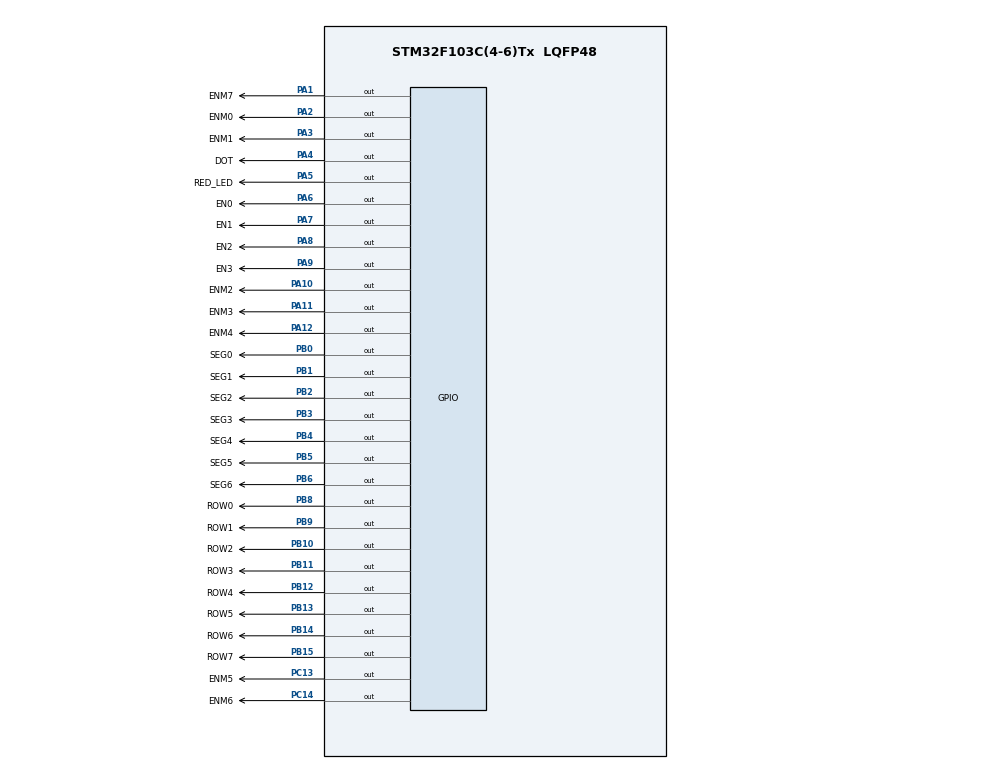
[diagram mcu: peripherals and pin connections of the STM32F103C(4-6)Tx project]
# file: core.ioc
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Mcu.Family=STM32F1
Mcu.Name=STM32F103C(4-6)Tx
Mcu.Package=LQFP48
NVIC.PriorityGroup=NVIC_PRIORITYGROUP_4
NVIC.TIM2_IRQn=true\:1\:0\:true\:false\:true\:true\:true
PA1.GPIO_Label=ENM7
PA1.Signal=GPIO_Output
PA10.GPIO_Label=ENM2
PA10.Signal=GPIO_Output
PA11.GPIO_Label=ENM3
PA11.Signal=GPIO_Output
PA12.GPIO_Label=ENM4
PA12.Signal=GPIO_Output
PA13.Mode=Serial_Wire
PA13.Signal=SYS_JTMS-SWDIO
PA14.Mode=Serial_Wire
PA14.Signal=SYS_JTCK-SWCLK
PA2.GPIO_Label=ENM0
PA2.Signal=GPIO_Output
PA3.GPIO_Label=ENM1
PA3.Signal=GPIO_Output
PA4.GPIO_Label=DOT
PA4.Signal=GPIO_Output
PA5.GPIO_Label=RED_LED
PA5.Signal=GPIO_Output
PA6.GPIO_Label=EN0
PA6.Signal=GPIO_Output
PA7.GPIO_Label=EN1
PA7.Signal=GPIO_Output
PA8.GPIO_Label=EN2
PA8.Signal=GPIO_Output
PA9.GPIO_Label=EN3
PA9.Signal=GPIO_Output
PB0.GPIO_Label=SEG0
PB0.Signal=GPIO_Output
PB1.GPIO_Label=SEG1
PB1.Signal=GPIO_Output
PB10.GPIO_Label=ROW2
PB10.Signal=GPIO_Output
PB11.GPIO_Label=ROW3
PB11.Signal=GPIO_Output
PB12.GPIO_Label=ROW4
PB12.Signal=GPIO_Output
PB13.GPIO_Label=ROW5
PB13.Signal=GPIO_Output
PB14.GPIO_Label=ROW6
PB14.Signal=GPIO_Output
PB15.GPIO_Label=ROW7
PB15.Signal=GPIO_Output
PB2.GPIO_Label=SEG2
PB2.Signal=GPIO_Output
PB3.GPIO_Label=SEG3
PB3.Signal=GPIO_Output
PB4.GPIO_Label=SEG4
PB4.Signal=GPIO_Output
PB5.GPIO_Label=SEG5
PB5.Signal=GPIO_Output
PB6.GPIO_Label=SEG6
PB6.Signal=GPIO_Output
PB8.GPIO_Label=ROW0
PB8.Signal=GPIO_Output
PB9.GPIO_Label=ROW1
PB9.Signal=GPIO_Output
PC13-TAMPER-RTC.GPIO_Label=ENM5
PC13-TAMPER-RTC.Signal=GPIO_Output
PC14-OSC32_IN.GPIO_Label=ENM6
PC14-OSC32_IN.Signal=GPIO_Output
ProjectManager.HeapSize=0x200
ProjectManager.StackSize=0x400
ProjectManager.TargetToolchain=STM32CubeIDE
RCC.APB1Freq_Value=8000000
RCC.APB2Freq_Value=8000000
TIM2.Period=9
TIM2.Prescaler=7999
VP_TIM2_VS_ClockSourceINT.Mode=Internal
board=custom

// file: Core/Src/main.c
/* USER CODE BEGIN Header */
/**
  ******************************************************************************
  * @file           : main.c
  * @brief          : Main program body
  ******************************************************************************
  * @attention
  *
  * <h2><center>&copy; Copyright (c) 2024 STMicroelectronics.
  * All rights reserved.</center></h2>
  *
  * This software component is licensed by ST under BSD 3-Clause license,
  * the "License"; You may not use this file except in compliance with the
  * License. You may obtain a copy of the License at:
  *                        opensource.org/licenses/BSD-3-Clause
  *
  ******************************************************************************
  */
/* USER CODE END Header */

#include "main.h"

/* USER CODE BEGIN PTD */
#include <Exercise_8.h>
#include <clock.h>
/* USER CODE END PTD */

TIM_HandleTypeDef htim2;

void SystemClock_Config(void);
static void MX_GPIO_Init(void);
static void MX_TIM2_Init(void);

/* USER CODE BEGIN 0 */
#define TICK 10
uint32_t timer_counter[10];
uint8_t timer_flag[10];

void setTimer(uint32_t index, uint32_t counter){
	timer_flag[index] = 0;
	timer_counter[index] = counter/TICK;
}

void timeRun(){
	for(uint32_t i = 0; i < 10; i++){
		if(timer_counter[i] >= 0){
			timer_counter[i]--;
			if(timer_counter[i] <= 0)
				timer_flag[i] = 1;
		}
	}
}

void HAL_TIM_PeriodElapsedCallback(TIM_HandleTypeDef *htim){
	if(htim->Instance == htim2.Instance){
		timeRun();
	}
}
/* USER CODE END 0 */

int main(void)
{

  /* MCU Configuration--------------------------------------------------------*/

  /* Reset of all peripherals, Initializes the Flash interface and the Systick. */
  HAL_Init();

  /* Configure the system clock */
  SystemClock_Config();

  /* Initialize all configured peripherals */
  MX_GPIO_Init();
  MX_TIM2_Init();
  /* USER CODE BEGIN 2 */
  HAL_TIM_Base_Start_IT(&htim2);
  init_display(SEG0_GPIO_Port, SEG0_Pin,
		  	   SEG1_GPIO_Port, SEG1_Pin,
			   SEG2_GPIO_Port, SEG2_Pin,
			   SEG3_GPIO_Port, SEG3_Pin,
			   SEG4_GPIO_Port, SEG4_Pin,
			   SEG5_GPIO_Port, SEG5_Pin,
			   SEG6_GPIO_Port, SEG6_Pin);
  init_exercise(0);
  setTimer(0, 1000);
  setTimer(1, 10);
  update_LED(led_buffer);
  /* USER CODE END 2 */

  /* Infinite loop */
  /* USER CODE BEGIN WHILE */
  while (1)
  {
	 if(timer_flag[0] == 1){
		setTimer(0, 1000);
		HAL_GPIO_TogglePin(GPIOA, GPIO_PIN_4);
	  	HAL_GPIO_TogglePin(GPIOA, GPIO_PIN_5);
	  	full_clock_run();
	  	update_LED(led_buffer);

	 }
	 if(timer_flag[1] == 1)
	 {
		 setTimer(1, 250);
		 exercise_run();
	 }

    /* USER CODE END WHILE */

  }
}

void SystemClock_Config(void)
{
  RCC_OscInitTypeDef RCC_OscInitStruct = {0};
  RCC_ClkInitTypeDef RCC_ClkInitStruct = {0};

  /** Initializes the RCC Oscillators according to the specified parameters
  * in the RCC_OscInitTypeDef structure.
  */
  RCC_OscInitStruct.OscillatorType = RCC_OSCILLATORTYPE_HSI;
  RCC_OscInitStruct.HSIState = RCC_HSI_ON;
  RCC_OscInitStruct.HSICalibrationValue = RCC_HSICALIBRATION_DEFAULT;
  RCC_OscInitStruct.PLL.PLLState = RCC_PLL_NONE;
  if (HAL_RCC_OscConfig(&RCC_OscInitStruct) != HAL_OK)
  {
    Error_Handler();
  }
  /** Initializes the CPU, AHB and APB buses clocks
  */
  RCC_ClkInitStruct.ClockType = RCC_CLOCKTYPE_HCLK|RCC_CLOCKTYPE_SYSCLK
                              |RCC_CLOCKTYPE_PCLK1|RCC_CLOCKTYPE_PCLK2;
  RCC_ClkInitStruct.SYSCLKSource = RCC_SYSCLKSOURCE_HSI;
  RCC_ClkInitStruct.AHBCLKDivider = RCC_SYSCLK_DIV1;
  RCC_ClkInitStruct.APB1CLKDivider = RCC_HCLK_DIV1;
  RCC_ClkInitStruct.APB2CLKDivider = RCC_HCLK_DIV1;

  if (HAL_RCC_ClockConfig(&RCC_ClkInitStruct, FLASH_LATENCY_0) != HAL_OK)
  {
    Error_Handler();
  }
}

static void MX_TIM2_Init(void)
{

  TIM_ClockConfigTypeDef sClockSourceConfig = {0};
  TIM_MasterConfigTypeDef sMasterConfig = {0};

  htim2.Instance = TIM2;
  htim2.Init.Prescaler = 7999;
  htim2.Init.CounterMode = TIM_COUNTERMODE_UP;
  htim2.Init.Period = 9;
  htim2.Init.ClockDivision = TIM_CLOCKDIVISION_DIV1;
  htim2.Init.AutoReloadPreload = TIM_AUTORELOAD_PRELOAD_DISABLE;
  if (HAL_TIM_Base_Init(&htim2) != HAL_OK)
  {
    Error_Handler();
  }
  sClockSourceConfig.ClockSource = TIM_CLOCKSOURCE_INTERNAL;
  if (HAL_TIM_ConfigClockSource(&htim2, &sClockSourceConfig) != HAL_OK)
  {
    Error_Handler();
  }
  sMasterConfig.MasterOutputTrigger = TIM_TRGO_RESET;
  sMasterConfig.MasterSlaveMode = TIM_MASTERSLAVEMODE_DISABLE;
  if (HAL_TIMEx_MasterConfigSynchronization(&htim2, &sMasterConfig) != HAL_OK)
  {
    Error_Handler();
  }

}

static void MX_GPIO_Init(void)
{
  GPIO_InitTypeDef GPIO_InitStruct = {0};

  /* GPIO Ports Clock Enable */
  __HAL_RCC_GPIOD_CLK_ENABLE();
  __HAL_RCC_GPIOA_CLK_ENABLE();
  __HAL_RCC_GPIOB_CLK_ENABLE();

  /*Configure GPIO pin Output Level */
  HAL_GPIO_WritePin(GPIOA, DOT_Pin|RED_LED_Pin|EN0_Pin|EN1_Pin
                          |EN2_Pin|EN3_Pin, GPIO_PIN_RESET);

  /*Configure GPIO pin Output Level */
  HAL_GPIO_WritePin(GPIOB, SEG0_Pin|SEG1_Pin|SEG2_Pin|SEG3_Pin
                          |SEG4_Pin|SEG5_Pin|SEG6_Pin, GPIO_PIN_RESET);

  /*Configure GPIO pins : DOT_Pin RED_LED_Pin EN0_Pin EN1_Pin
                           EN2_Pin EN3_Pin */
  GPIO_InitStruct.Pin = DOT_Pin|RED_LED_Pin|EN0_Pin|EN1_Pin
                          |EN2_Pin|EN3_Pin;
  GPIO_InitStruct.Mode = GPIO_MODE_OUTPUT_PP;
  GPIO_InitStruct.Pull = GPIO_NOPULL;
  GPIO_InitStruct.Speed = GPIO_SPEED_FREQ_LOW;
  HAL_GPIO_Init(GPIOA, &GPIO_InitStruct);

  /*Configure GPIO pins : SEG0_Pin SEG1_Pin SEG2_Pin SEG3_Pin
                           SEG4_Pin SEG5_Pin SEG6_Pin */
  GPIO_InitStruct.Pin = SEG0_Pin|SEG1_Pin|SEG2_Pin|SEG3_Pin
                          |SEG4_Pin|SEG5_Pin|SEG6_Pin;
  GPIO_InitStruct.Mode = GPIO_MODE_OUTPUT_PP;
  GPIO_InitStruct.Pull = GPIO_NOPULL;
  GPIO_InitStruct.Speed = GPIO_SPEED_FREQ_LOW;
  HAL_GPIO_Init(GPIOB, &GPIO_InitStruct);

}

void Error_Handler(void)
{
  __disable_irq();
  while (1)
  {
  }
}

/************************ (C) COPYRIGHT STMicroelectronics *****END OF FILE****/
